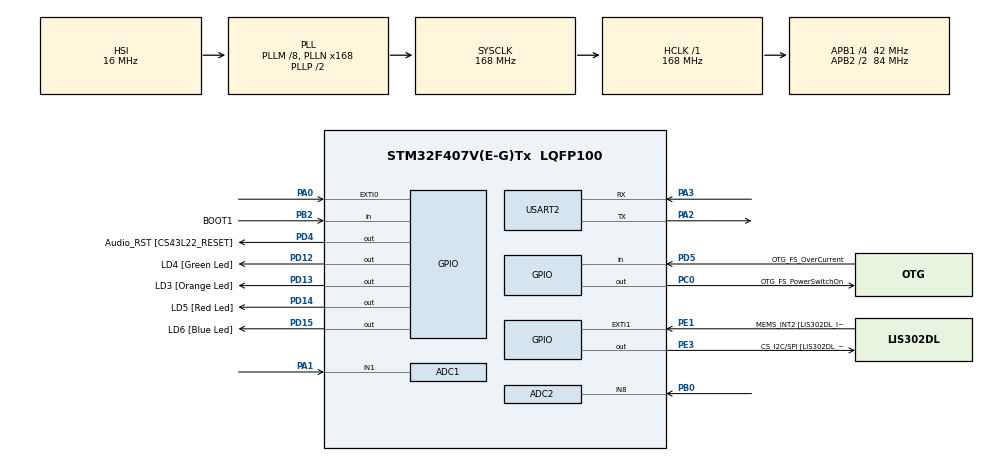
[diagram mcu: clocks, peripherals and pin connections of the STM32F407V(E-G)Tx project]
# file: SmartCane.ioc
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ADC1.Channel-4\#ChannelRegularConversion=ADC_CHANNEL_1
ADC1.ClockPrescaler=ADC_CLOCK_SYNC_PCLK_DIV4
ADC1.ContinuousConvMode=DISABLE
ADC1.DMAContinuousRequests=ENABLE
ADC1.DataAlign=ADC_DATAALIGN_RIGHT
ADC1.DiscontinuousConvMode=DISABLE
ADC1.EOCSelection=ADC_EOC_SINGLE_CONV
ADC1.EnableAnalogWatchDog=false
ADC1.ExternalTrigConv=ADC_EXTERNALTRIGCONV_T2_TRGO
ADC1.ExternalTrigConvEdge=ADC_EXTERNALTRIGCONVEDGE_RISING
ADC1.InjNumberOfConversion=0
ADC1.NbrOfConversion=1
ADC1.NbrOfConversionFlag=1
ADC1.Rank-4\#ChannelRegularConversion=1
ADC1.Resolution=ADC_RESOLUTION_12B
ADC1.SamplingTime-4\#ChannelRegularConversion=ADC_SAMPLETIME_3CYCLES
ADC1.ScanConvMode=DISABLE
ADC1.master=1
ADC2.Channel-18\#ChannelRegularConversion=ADC_CHANNEL_8
ADC2.ClockPrescaler=ADC_CLOCK_SYNC_PCLK_DIV4
ADC2.ContinuousConvMode=DISABLE
ADC2.DMAContinuousRequests=ENABLE
ADC2.DataAlign=ADC_DATAALIGN_RIGHT
ADC2.DiscontinuousConvMode=DISABLE
ADC2.EOCSelection=ADC_EOC_SINGLE_CONV
ADC2.EnableAnalogWatchDog=false
ADC2.ExternalTrigConv=ADC_EXTERNALTRIGCONV_T3_TRGO
ADC2.ExternalTrigConvEdge=ADC_EXTERNALTRIGCONVEDGE_RISING
ADC2.InjNumberOfConversion=0
ADC2.NbrOfConversion=1
ADC2.NbrOfConversionFlag=1
ADC2.Rank-18\#ChannelRegularConversion=1
ADC2.Resolution=ADC_RESOLUTION_12B
ADC2.SamplingTime-18\#ChannelRegularConversion=ADC_SAMPLETIME_3CYCLES
ADC2.ScanConvMode=DISABLE
Dma.ADC1.0.Direction=DMA_PERIPH_TO_MEMORY
Dma.ADC1.0.FIFOMode=DMA_FIFOMODE_ENABLE
Dma.ADC1.0.FIFOThreshold=DMA_FIFO_THRESHOLD_FULL
Dma.ADC1.0.Instance=DMA2_Stream0
Dma.ADC1.0.MemBurst=DMA_MBURST_SINGLE
Dma.ADC1.0.MemDataAlignment=DMA_MDATAALIGN_WORD
Dma.ADC1.0.MemInc=DMA_MINC_ENABLE
Dma.ADC1.0.Mode=DMA_CIRCULAR
Dma.ADC1.0.PeriphBurst=DMA_PBURST_SINGLE
Dma.ADC1.0.PeriphDataAlignment=DMA_PDATAALIGN_WORD
Dma.ADC1.0.PeriphInc=DMA_PINC_DISABLE
Dma.ADC1.0.Priority=DMA_PRIORITY_HIGH
Dma.ADC2.1.Direction=DMA_PERIPH_TO_MEMORY
Dma.ADC2.1.FIFOMode=DMA_FIFOMODE_ENABLE
Dma.ADC2.1.FIFOThreshold=DMA_FIFO_THRESHOLD_FULL
Dma.ADC2.1.Instance=DMA2_Stream2
Dma.ADC2.1.MemBurst=DMA_MBURST_SINGLE
Dma.ADC2.1.MemDataAlignment=DMA_MDATAALIGN_WORD
Dma.ADC2.1.MemInc=DMA_MINC_ENABLE
Dma.ADC2.1.Mode=DMA_CIRCULAR
Dma.ADC2.1.PeriphBurst=DMA_PBURST_SINGLE
Dma.ADC2.1.PeriphDataAlignment=DMA_PDATAALIGN_WORD
Dma.ADC2.1.PeriphInc=DMA_PINC_DISABLE
Dma.ADC2.1.Priority=DMA_PRIORITY_HIGH
Dma.Request0=ADC1
Dma.Request1=ADC2
Mcu.Family=STM32F4
Mcu.Name=STM32F407V(E-G)Tx
Mcu.Package=LQFP100
NVIC.DMA2_Stream0_IRQn=true\:0\:0\:false\:false\:true\:false
NVIC.DMA2_Stream2_IRQn=true\:0\:0\:false\:false\:true\:false
NVIC.EXTI0_IRQn=true\:0\:1\:false\:false\:true\:true
NVIC.PriorityGroup=NVIC_PRIORITYGROUP_0
NVIC.TIM8_BRK_TIM12_IRQn=true\:0\:0\:false\:false\:true\:true
NVIC.USART2_IRQn=true\:0\:0\:false\:false\:true\:true
PA0-WKUP.GPIO_ModeDefaultEXTI=GPIO_MODE_IT_FALLING
PA0-WKUP.GPIO_PuPd=GPIO_NOPULL
PA0-WKUP.Signal=GPXTI0
PA1.Signal=ADCx_IN1
PA10.GPIO_Label=OTG_FS_ID
PA10.GPIO_Mode=GPIO_MODE_AF_PP
PA10.GPIO_PuPd=GPIO_NOPULL
PA10.GPIO_Speed=GPIO_SPEED_FREQ_LOW
PA10.Signal=USB_OTG_FS_ID
PA11.GPIO_Label=OTG_FS_DM
PA11.GPIO_Mode=GPIO_MODE_AF_PP
PA11.GPIO_PuPd=GPIO_NOPULL
PA11.GPIO_Speed=GPIO_SPEED_FREQ_LOW
PA11.Signal=USB_OTG_FS_DM
PA12.GPIO_Label=OTG_FS_DP
PA12.GPIO_Mode=GPIO_MODE_AF_PP
PA12.GPIO_PuPd=GPIO_NOPULL
PA12.GPIO_Speed=GPIO_SPEED_FREQ_LOW
PA12.Signal=USB_OTG_FS_DP
PA13.GPIO_Label=SWDIO
PA13.Signal=SYS_JTMS-SWDIO
PA14.GPIO_Label=SWCLK
PA14.Signal=SYS_JTCK-SWCLK
PA2.Mode=Asynchronous
PA2.Signal=USART2_TX
PA3.Mode=Asynchronous
PA3.Signal=USART2_RX
PA4.GPIO_Label=I2S3_WS [CS43L22_LRCK]
PA4.GPIO_Mode=GPIO_MODE_AF_PP
PA4.GPIO_PuPd=GPIO_NOPULL
PA4.GPIO_Speed=GPIO_SPEED_FREQ_LOW
PA4.Signal=I2S3_WS
PA5.GPIO_Label=SPI1_SCK [LIS302DL_SCL/SPC]
PA5.GPIO_Mode=GPIO_MODE_AF_PP
PA5.GPIO_PuPd=GPIO_NOPULL
PA5.GPIO_Speed=GPIO_SPEED_FREQ_LOW
PA5.Signal=SPI1_SCK
PA6.GPIO_Label=SPI1_MISO [LIS302DL_SDO]
PA6.GPIO_Mode=GPIO_MODE_AF_PP
PA6.GPIO_PuPd=GPIO_NOPULL
PA6.GPIO_Speed=GPIO_SPEED_FREQ_LOW
PA6.Signal=SPI1_MISO
PA7.GPIO_Label=SPI1_MOSI [LIS302DL_SDA/SDI/SDO]
PA7.GPIO_Mode=GPIO_MODE_AF_PP
PA7.GPIO_PuPd=GPIO_NOPULL
PA7.GPIO_Speed=GPIO_SPEED_FREQ_LOW
PA7.Signal=SPI1_MOSI
PA9.GPIO_Label=VBUS_FS
PA9.GPIO_Mode=GPIO_MODE_INPUT
PA9.GPIO_PuPd=GPIO_NOPULL
PA9.Signal=USB_OTG_FS_VBUS
PB0.Signal=ADCx_IN8
PB10.GPIO_Label=CLK_IN [MP45DT02_CLK]
PB10.GPIO_Mode=GPIO_MODE_AF_PP
PB10.GPIO_PuPd=GPIO_NOPULL
PB10.GPIO_Speed=GPIO_SPEED_FREQ_LOW
PB10.Signal=I2S2_CK
PB2.GPIO_Label=BOOT1
PB2.GPIO_Mode=GPIO_MODE_INPUT
PB2.GPIO_PuPd=GPIO_NOPULL
PB2.Signal=GPIO_Input
PB3.GPIO_Label=SWO
PB3.Signal=SYS_JTDO-SWO
PB6.GPIO_Label=Audio_SCL [CS43L22_SCL]
PB6.GPIO_Mode=GPIO_MODE_AF_OD
PB6.GPIO_PuPd=GPIO_NOPULL
PB6.GPIO_Speed=GPIO_SPEED_FREQ_LOW
PB6.Signal=I2C1_SCL
PB9.GPIO_Label=Audio_SDA [CS43L22_SDA]
PB9.GPIO_Mode=GPIO_MODE_AF_OD
PB9.GPIO_PuPd=GPIO_NOPULL
PB9.GPIO_Speed=GPIO_SPEED_FREQ_LOW
PB9.Signal=I2C1_SDA
PC0.GPIO_Label=OTG_FS_PowerSwitchOn
PC0.GPIO_PuPd=GPIO_NOPULL
PC0.GPIO_Speed=GPIO_SPEED_FREQ_LOW
PC0.PinState=GPIO_PIN_SET
PC0.Signal=GPIO_Output
PC10.GPIO_Label=I2S3_SCK [CS43L22_SCLK]
PC10.GPIO_Mode=GPIO_MODE_AF_PP
PC10.GPIO_PuPd=GPIO_NOPULL
PC10.GPIO_Speed=GPIO_SPEED_FREQ_LOW
PC10.Signal=I2S3_CK
PC12.GPIO_Label=I2S3_SD [CS43L22_SDIN]
PC12.GPIO_Mode=GPIO_MODE_AF_PP
PC12.GPIO_PuPd=GPIO_NOPULL
PC12.GPIO_Speed=GPIO_SPEED_FREQ_LOW
PC12.Signal=I2S3_SD
PC14-OSC32_IN.GPIO_Label=PC14-OSC32_IN
PC14-OSC32_IN.Signal=RCC_OSC32_IN
PC15-OSC32_OUT.GPIO_Label=PC15-OSC32_OUT
PC15-OSC32_OUT.Signal=RCC_OSC32_OUT
PC3.GPIO_Label=PDM_OUT [MP45DT02_DOUT]
PC3.GPIO_Mode=GPIO_MODE_AF_PP
PC3.GPIO_PuPd=GPIO_NOPULL
PC3.GPIO_Speed=GPIO_SPEED_FREQ_LOW
PC3.Signal=I2S2_SD
PC7.GPIO_Label=I2S3_MCK [CS43L22_MCLK]
PC7.GPIO_Mode=GPIO_MODE_AF_PP
PC7.GPIO_PuPd=GPIO_NOPULL
PC7.GPIO_Speed=GPIO_SPEED_FREQ_LOW
PC7.Signal=I2S3_MCK
PD12.GPIO_Label=LD4 [Green Led]
PD12.GPIO_PuPd=GPIO_NOPULL
PD12.GPIO_Speed=GPIO_SPEED_FREQ_LOW
PD12.Signal=GPIO_Output
PD13.GPIO_Label=LD3 [Orange Led]
PD13.GPIO_PuPd=GPIO_NOPULL
PD13.GPIO_Speed=GPIO_SPEED_FREQ_LOW
PD13.Signal=GPIO_Output
PD14.GPIO_Label=LD5 [Red Led]
PD14.GPIO_PuPd=GPIO_NOPULL
PD14.GPIO_Speed=GPIO_SPEED_FREQ_LOW
PD14.Signal=GPIO_Output
PD15.GPIO_Label=LD6 [Blue Led]
PD15.GPIO_PuPd=GPIO_NOPULL
PD15.GPIO_Speed=GPIO_SPEED_FREQ_LOW
PD15.Signal=GPIO_Output
PD4.GPIO_Label=Audio_RST [CS43L22_RESET]
PD4.GPIO_PuPd=GPIO_NOPULL
PD4.GPIO_Speed=GPIO_SPEED_FREQ_LOW
PD4.Signal=GPIO_Output
PD5.GPIO_Label=OTG_FS_OverCurrent
PD5.GPIO_Mode=GPIO_MODE_INPUT
PD5.GPIO_PuPd=GPIO_NOPULL
PD5.Signal=GPIO_Input
PE1.GPIO_Label=MEMS_INT2 [LIS302DL_INT2]
PE1.GPIO_ModeDefaultEXTI=GPIO_MODE_EVT_RISING
PE1.GPIO_PuPd=GPIO_NOPULL
PE1.Signal=GPXTI1
PE3.GPIO_Label=CS_I2C/SPI [LIS302DL_CS_I2C/SPI]
PE3.GPIO_PuPd=GPIO_NOPULL
PE3.GPIO_Speed=GPIO_SPEED_FREQ_LOW
PE3.Signal=GPIO_Output
PH0-OSC_IN.GPIO_Label=PH0-OSC_IN
PH0-OSC_IN.Mode=HSE-External-Oscillator
PH0-OSC_IN.Signal=RCC_OSC_IN
PH1-OSC_OUT.GPIO_Label=PH1-OSC_OUT
PH1-OSC_OUT.Mode=HSE-External-Oscillator
PH1-OSC_OUT.Signal=RCC_OSC_OUT
ProjectManager.HeapSize=0x200
ProjectManager.StackSize=0x400
ProjectManager.TargetToolchain=MDK-ARM V5
RCC.48MHZClocksFreq_Value=48000000
RCC.AHBFreq_Value=168000000
RCC.APB1CLKDivider=RCC_HCLK_DIV4
RCC.APB1Freq_Value=42000000
RCC.APB1TimFreq_Value=84000000
RCC.APB2CLKDivider=RCC_HCLK_DIV2
RCC.APB2Freq_Value=84000000
RCC.APB2TimFreq_Value=168000000
RCC.CortexFreq_Value=168000000
RCC.HCLKFreq_Value=168000000
RCC.HSE_VALUE=8000000
RCC.HSI_VALUE=16000000
RCC.LSE_VALUE=32768
RCC.PLLM=8
RCC.PLLN=168
RCC.PLLQ=7
RCC.SYSCLKFreq_VALUE=168000000
RCC.SYSCLKSource=RCC_SYSCLKSOURCE_PLLCLK
RCC.VCOOutputFreq_Value=336000000
SH.ADCx_IN1.0=ADC1_IN1,IN1
SH.ADCx_IN8.0=ADC2_IN8,IN8
TIM12.Period=4200-1
TIM12.Prescaler=2000-1
TIM2.Period=2100 -1
TIM2.Prescaler=10-1
TIM2.TIM_MasterOutputTrigger=TIM_TRGO_UPDATE
TIM3.Period=2100 -1
TIM3.Prescaler=10-1
TIM3.TIM_MasterOutputTrigger=TIM_TRGO_UPDATE
TIM3.TIM_MasterSlaveMode=TIM_MASTERSLAVEMODE_DISABLE
USART2.VirtualMode=VM_ASYNC
VP_TIM12_VS_ClockSourceINT.Mode=Internal
VP_TIM2_VS_ClockSourceINT.Mode=Internal
VP_TIM3_VS_ClockSourceINT.Mode=Internal
board=STM32F4DISCOVERY

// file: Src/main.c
/**
  ******************************************************************************
  * File Name          : main.c
  * Description        : Main program body
  ******************************************************************************
  ** This notice applies to any and all portions of this file
  * that are not between comment pairs USER CODE BEGIN and
  * USER CODE END. Other portions of this file, whether
  * inserted by the user or by software development tools
  * are owned by their respective copyright owners.
  *
  * COPYRIGHT(c) 2017 STMicroelectronics
  *
  * Redistribution and use in source and binary forms, with or without modification,
  * are permitted provided that the following conditions are met:
  *   1. Redistributions of source code must retain the above copyright notice,
  *      this list of conditions and the following disclaimer.
  *   2. Redistributions in binary form must reproduce the above copyright notice,
  *      this list of conditions and the following disclaimer in the documentation
  *      and/or other materials provided with the distribution.
  *   3. Neither the name of STMicroelectronics nor the names of its contributors
  *      may be used to endorse or promote products derived from this software
  *      without specific prior written permission.
  *
  * THIS SOFTWARE IS PROVIDED BY THE COPYRIGHT HOLDERS AND CONTRIBUTORS "AS IS"
  * AND ANY EXPRESS OR IMPLIED WARRANTIES, INCLUDING, BUT NOT LIMITED TO, THE
  * IMPLIED WARRANTIES OF MERCHANTABILITY AND FITNESS FOR A PARTICULAR PURPOSE ARE
  * DISCLAIMED. IN NO EVENT SHALL THE COPYRIGHT HOLDER OR CONTRIBUTORS BE LIABLE
  * FOR ANY DIRECT, INDIRECT, INCIDENTAL, SPECIAL, EXEMPLARY, OR CONSEQUENTIAL
  * DAMAGES (INCLUDING, BUT NOT LIMITED TO, PROCUREMENT OF SUBSTITUTE GOODS OR
  * SERVICES; LOSS OF USE, DATA, OR PROFITS; OR BUSINESS INTERRUPTION) HOWEVER
  * CAUSED AND ON ANY THEORY OF LIABILITY, WHETHER IN CONTRACT, STRICT LIABILITY,
  * OR TORT (INCLUDING NEGLIGENCE OR OTHERWISE) ARISING IN ANY WAY OUT OF THE USE
  * OF THIS SOFTWARE, EVEN IF ADVISED OF THE POSSIBILITY OF SUCH DAMAGE.
  *
  ******************************************************************************
  */
#include "main.h"
#include "stm32f4xx_hal.h"

/* USER CODE BEGIN Includes */
#define ARM_MATH_CM4
#define NPT  1024
#define FFT_SIZE  NPT/2
#define FsTime 8000

#include "arm_math.h"
#include "arm_const_structs.h"

/* USER CODE END Includes */

ADC_HandleTypeDef hadc1;
ADC_HandleTypeDef hadc2;
DMA_HandleTypeDef hdma_adc1;
DMA_HandleTypeDef hdma_adc2;

TIM_HandleTypeDef htim2;
TIM_HandleTypeDef htim3;
TIM_HandleTypeDef htim12;

UART_HandleTypeDef huart2;

/* USER CODE BEGIN PV */
/* Private variables ---------------------------------------------------------*/
uint32_t  adcIn1[NPT] = {0,};
uint32_t  adcIn2[NPT] = {0,};

 float32_t Input1[NPT] = {0,};
 float32_t Input2[NPT] = {0,};

 float32_t Result_Output1[FFT_SIZE];
 float32_t Result_Output2[FFT_SIZE];

 float32_t Result_ANR[FFT_SIZE];

float32_t maxValue_1;				/* Max FFT value is stored here */
uint32_t maxIndex_1;				/* Index in Output array where max value is */

float32_t maxValue_2;				/* Max FFT value is stored here */
uint32_t maxIndex_2;				/* Index in Output array where max value is */

uint16_t i;

uint32_t Evaluation_Array[20] = {0,};

uint16_t count = 0;
uint32_t mode_Value = 0;

/* USER CODE END PV */

void SystemClock_Config(void);
static void MX_GPIO_Init(void);
static void MX_DMA_Init(void);
static void MX_USART2_UART_Init(void);
static void MX_TIM3_Init(void);
static void MX_TIM2_Init(void);
static void MX_ADC1_Init(void);
static void MX_ADC2_Init(void);
static void MX_TIM12_Init(void);

/* USER CODE BEGIN PFP */
/* Private function prototypes -----------------------------------------------*/

void HAL_TIM_PeriodElapsedCallback(TIM_HandleTypeDef *htim)  //FFT 자리// 타이머 카운트 주기가 경과되면 호출되는 함수
{
	//FFT 담당 -> 8000hz ->TIM3 / TIM8

	if(htim -> Instance == TIM12)
	{

		 for(i = 0; i <NPT; i++) //배열타입 정렬
		 {
				 Input1[(uint16_t)i] = (float32_t)(adcIn1[i]);
			   Input2[(uint16_t)i] = (float32_t)(adcIn2[i]);
		 }

		arm_cfft_f32(&arm_cfft_sR_f32_len512, Input1, 0, 1);
		arm_cmplx_mag_f32(Input1, Result_Output1, FFT_SIZE);
		Result_Output1[0] = 0;//참고문헌 필요 -> zero padding

		arm_cfft_f32(&arm_cfft_sR_f32_len512, Input2, 0, 1);
		arm_cmplx_mag_f32(Input2, Result_Output2, FFT_SIZE);
		Result_Output2[0] = 0;//참고문헌 필요 -> zero padding

		 //
 //   printf("ANR FFT\r\n");
		 for(i = 0; i <FFT_SIZE/2; i++)
		 {
			  Result_ANR[i]=  fabs(Result_Output1[i]-Result_Output2[i]);
		//		printf("%.1f,",Result_ANR[i]);
		 }
 //   printf("\r\n");

		 arm_max_f32(Result_ANR, FFT_SIZE/2, &maxValue_1, &maxIndex_1);
		 Result_ANR[maxIndex_1] = 0.0;
		 arm_max_f32(Result_ANR, FFT_SIZE/2, &maxValue_2, &maxIndex_2);

//    printf("Info.\r\n");

		if(maxValue_1 <2000)
	 {
			  maxValue_1 =0;
		    Result_ANR[maxIndex_1] =0;
		    printf("%d,%.1f, %d,%.1f  \r\n", 0,0.0, 0,0.0);

	 }
	 else
	{
		  printf("%d,%.1f, /// ,%d,%.1f  \r\n", maxIndex_1*FsTime/2/(NPT/2)/2, maxValue_1, maxIndex_2*FsTime/2/(NPT/2)/2, maxValue_2);
			Evaluation_Array[count] =maxIndex_1*FsTime/2/(NPT/2)/2;

		  if(count > 20)
			{
				count =0;
			}
			count++;

	}

   /*
		 for(i = 0; i <FFT_SIZE/2; i++)
		 {
			 if(Result_Output1[i]-Result_Output2[i] <= 0)
			  {
				 	 Result_ANR[i] =0;
			  }
			  else
			  {
		 			 Result_ANR[i]=  Result_Output1[i]-Result_Output2[i];
	 		  }
				printf("%.1f,", Result_ANR[i]);
  		}

				 arm_max_f32(Result_ANR, FFT_SIZE/2, &maxValue_1, &maxIndex_1);
			   Result_ANR[maxIndex_1] = 0.0;
		     arm_max_f32(Result_ANR, FFT_SIZE/2, &maxValue_2, &maxIndex_2);

				 if(maxValue_1 <1000)
				 {
					  printf("%d,%.1f, %d,%.1f  \r\n", 0,0.0, 0,0.0);
				 }
				 else
				 {
					  printf("%d,%.1f, %d,%.1f  \r\n", maxIndex_1*FsTime/2/(NPT/2), maxValue_1, maxIndex_2*maxIndex_1*FsTime/2/(NPT/2),maxValue_2);
				 }
	 */
		 }
}

/* USER CODE END PFP */

/* USER CODE BEGIN 0 */

int fputc(int ch, FILE *f)
{
    uint8_t temp[1]={ch};
    HAL_UART_Transmit(&huart2, temp, 1, 2);
  return(ch);
}

/* USER CODE END 0 */

int main(void)
{

  /* MCU Configuration----------------------------------------------------------*/

  /* Reset of all peripherals, Initializes the Flash interface and the Systick. */
  HAL_Init();

  /* Configure the system clock */
  SystemClock_Config();

  /* Initialize all configured peripherals */
  MX_GPIO_Init();
  MX_DMA_Init();
  MX_USART2_UART_Init();
  MX_TIM3_Init();
  MX_TIM2_Init();
  MX_ADC1_Init();
  MX_ADC2_Init();
  MX_TIM12_Init();

  /* USER CODE BEGIN 2 */

  HAL_ADC_Start_DMA(&hadc1, adcIn1 ,NPT);
  HAL_ADC_Start_DMA(&hadc2, adcIn2 ,NPT);		//<-NOISE REDUCTION

	HAL_TIM_Base_Start_IT(&htim2);   //<-SOUND 알아서 녹음
  HAL_TIM_Base_Start_IT(&htim3);   //<-NOISE REDUCTION

	HAL_TIM_Base_Start_IT(&htim12);   //<- time base의 타이머 인터럽트를 시작

  /* USER CODE END 2 */

  /* Infinite loop */
  while (1)
  {

  }

}

/** System Clock Configuration
*/
void SystemClock_Config(void)
{

  RCC_OscInitTypeDef RCC_OscInitStruct;
  RCC_ClkInitTypeDef RCC_ClkInitStruct;

    /**Configure the main internal regulator output voltage
    */
  __HAL_RCC_PWR_CLK_ENABLE();

  __HAL_PWR_VOLTAGESCALING_CONFIG(PWR_REGULATOR_VOLTAGE_SCALE1);

    /**Initializes the CPU, AHB and APB busses clocks
    */
  RCC_OscInitStruct.OscillatorType = RCC_OSCILLATORTYPE_HSI;
  RCC_OscInitStruct.HSIState = RCC_HSI_ON;
  RCC_OscInitStruct.HSICalibrationValue = 16;
  RCC_OscInitStruct.PLL.PLLState = RCC_PLL_ON;
  RCC_OscInitStruct.PLL.PLLSource = RCC_PLLSOURCE_HSI;
  RCC_OscInitStruct.PLL.PLLM = 8;
  RCC_OscInitStruct.PLL.PLLN = 168;
  RCC_OscInitStruct.PLL.PLLP = RCC_PLLP_DIV2;
  RCC_OscInitStruct.PLL.PLLQ = 7;
  if (HAL_RCC_OscConfig(&RCC_OscInitStruct) != HAL_OK)
  {
    _Error_Handler(__FILE__, __LINE__);
  }

    /**Initializes the CPU, AHB and APB busses clocks
    */
  RCC_ClkInitStruct.ClockType = RCC_CLOCKTYPE_HCLK|RCC_CLOCKTYPE_SYSCLK
                              |RCC_CLOCKTYPE_PCLK1|RCC_CLOCKTYPE_PCLK2;
  RCC_ClkInitStruct.SYSCLKSource = RCC_SYSCLKSOURCE_PLLCLK;
  RCC_ClkInitStruct.AHBCLKDivider = RCC_SYSCLK_DIV1;
  RCC_ClkInitStruct.APB1CLKDivider = RCC_HCLK_DIV4;
  RCC_ClkInitStruct.APB2CLKDivider = RCC_HCLK_DIV2;

  if (HAL_RCC_ClockConfig(&RCC_ClkInitStruct, FLASH_LATENCY_5) != HAL_OK)
  {
    _Error_Handler(__FILE__, __LINE__);
  }

    /**Configure the Systick interrupt time
    */
  HAL_SYSTICK_Config(HAL_RCC_GetHCLKFreq()/1000);

    /**Configure the Systick
    */
  HAL_SYSTICK_CLKSourceConfig(SYSTICK_CLKSOURCE_HCLK);

  /* SysTick_IRQn interrupt configuration */
  HAL_NVIC_SetPriority(SysTick_IRQn, 0, 0);
}

/* ADC1 init function */
static void MX_ADC1_Init(void)
{

  ADC_ChannelConfTypeDef sConfig;

    /**Configure the global features of the ADC (Clock, Resolution, Data Alignment and number of conversion)
    */
  hadc1.Instance = ADC1;
  hadc1.Init.ClockPrescaler = ADC_CLOCK_SYNC_PCLK_DIV4;
  hadc1.Init.Resolution = ADC_RESOLUTION_12B;
  hadc1.Init.ScanConvMode = DISABLE;
  hadc1.Init.ContinuousConvMode = DISABLE;
  hadc1.Init.DiscontinuousConvMode = DISABLE;
  hadc1.Init.ExternalTrigConvEdge = ADC_EXTERNALTRIGCONVEDGE_RISING;
  hadc1.Init.ExternalTrigConv = ADC_EXTERNALTRIGCONV_T2_TRGO;
  hadc1.Init.DataAlign = ADC_DATAALIGN_RIGHT;
  hadc1.Init.NbrOfConversion = 1;
  hadc1.Init.DMAContinuousRequests = ENABLE;
  hadc1.Init.EOCSelection = ADC_EOC_SINGLE_CONV;
  if (HAL_ADC_Init(&hadc1) != HAL_OK)
  {
    _Error_Handler(__FILE__, __LINE__);
  }

    /**Configure for the selected ADC regular channel its corresponding rank in the sequencer and its sample time.
    */
  sConfig.Channel = ADC_CHANNEL_1;
  sConfig.Rank = 1;
  sConfig.SamplingTime = ADC_SAMPLETIME_3CYCLES;
  if (HAL_ADC_ConfigChannel(&hadc1, &sConfig) != HAL_OK)
  {
    _Error_Handler(__FILE__, __LINE__);
  }

}

/* ADC2 init function */
static void MX_ADC2_Init(void)
{

  ADC_ChannelConfTypeDef sConfig;

    /**Configure the global features of the ADC (Clock, Resolution, Data Alignment and number of conversion)
    */
  hadc2.Instance = ADC2;
  hadc2.Init.ClockPrescaler = ADC_CLOCK_SYNC_PCLK_DIV4;
  hadc2.Init.Resolution = ADC_RESOLUTION_12B;
  hadc2.Init.ScanConvMode = DISABLE;
  hadc2.Init.ContinuousConvMode = DISABLE;
  hadc2.Init.DiscontinuousConvMode = DISABLE;
  hadc2.Init.ExternalTrigConvEdge = ADC_EXTERNALTRIGCONVEDGE_RISING;
  hadc2.Init.ExternalTrigConv = ADC_EXTERNALTRIGCONV_T3_TRGO;
  hadc2.Init.DataAlign = ADC_DATAALIGN_RIGHT;
  hadc2.Init.NbrOfConversion = 1;
  hadc2.Init.DMAContinuousRequests = ENABLE;
  hadc2.Init.EOCSelection = ADC_EOC_SINGLE_CONV;
  if (HAL_ADC_Init(&hadc2) != HAL_OK)
  {
    _Error_Handler(__FILE__, __LINE__);
  }

    /**Configure for the selected ADC regular channel its corresponding rank in the sequencer and its sample time.
    */
  sConfig.Channel = ADC_CHANNEL_8;
  sConfig.Rank = 1;
  sConfig.SamplingTime = ADC_SAMPLETIME_3CYCLES;
  if (HAL_ADC_ConfigChannel(&hadc2, &sConfig) != HAL_OK)
  {
    _Error_Handler(__FILE__, __LINE__);
  }

}

/* TIM2 init function */
static void MX_TIM2_Init(void)
{

  TIM_ClockConfigTypeDef sClockSourceConfig;
  TIM_MasterConfigTypeDef sMasterConfig;

  htim2.Instance = TIM2;
  htim2.Init.Prescaler = 10-1;
  htim2.Init.CounterMode = TIM_COUNTERMODE_UP;
  htim2.Init.Period = 2100 -1;
  htim2.Init.ClockDivision = TIM_CLOCKDIVISION_DIV1;
  if (HAL_TIM_Base_Init(&htim2) != HAL_OK)
  {
    _Error_Handler(__FILE__, __LINE__);
  }

  sClockSourceConfig.ClockSource = TIM_CLOCKSOURCE_INTERNAL;
  if (HAL_TIM_ConfigClockSource(&htim2, &sClockSourceConfig) != HAL_OK)
  {
    _Error_Handler(__FILE__, __LINE__);
  }

  sMasterConfig.MasterOutputTrigger = TIM_TRGO_UPDATE;
  sMasterConfig.MasterSlaveMode = TIM_MASTERSLAVEMODE_DISABLE;
  if (HAL_TIMEx_MasterConfigSynchronization(&htim2, &sMasterConfig) != HAL_OK)
  {
    _Error_Handler(__FILE__, __LINE__);
  }

}

/* TIM3 init function */
static void MX_TIM3_Init(void)
{

  TIM_ClockConfigTypeDef sClockSourceConfig;
  TIM_MasterConfigTypeDef sMasterConfig;

  htim3.Instance = TIM3;
  htim3.Init.Prescaler = 10-1;
  htim3.Init.CounterMode = TIM_COUNTERMODE_UP;
  htim3.Init.Period = 2100 -1;
  htim3.Init.ClockDivision = TIM_CLOCKDIVISION_DIV1;
  if (HAL_TIM_Base_Init(&htim3) != HAL_OK)
  {
    _Error_Handler(__FILE__, __LINE__);
  }

  sClockSourceConfig.ClockSource = TIM_CLOCKSOURCE_INTERNAL;
  if (HAL_TIM_ConfigClockSource(&htim3, &sClockSourceConfig) != HAL_OK)
  {
    _Error_Handler(__FILE__, __LINE__);
  }

  sMasterConfig.MasterOutputTrigger = TIM_TRGO_UPDATE;
  sMasterConfig.MasterSlaveMode = TIM_MASTERSLAVEMODE_DISABLE;
  if (HAL_TIMEx_MasterConfigSynchronization(&htim3, &sMasterConfig) != HAL_OK)
  {
    _Error_Handler(__FILE__, __LINE__);
  }

}

/* TIM12 init function */
static void MX_TIM12_Init(void)
{

  TIM_ClockConfigTypeDef sClockSourceConfig;

  htim12.Instance = TIM12;
  htim12.Init.Prescaler = 2000-1;
  htim12.Init.CounterMode = TIM_COUNTERMODE_UP;
  htim12.Init.Period = 4200-1;
  htim12.Init.ClockDivision = TIM_CLOCKDIVISION_DIV1;
  if (HAL_TIM_Base_Init(&htim12) != HAL_OK)
  {
    _Error_Handler(__FILE__, __LINE__);
  }

  sClockSourceConfig.ClockSource = TIM_CLOCKSOURCE_INTERNAL;
  if (HAL_TIM_ConfigClockSource(&htim12, &sClockSourceConfig) != HAL_OK)
  {
    _Error_Handler(__FILE__, __LINE__);
  }

}

/* USART2 init function */
static void MX_USART2_UART_Init(void)
{

  huart2.Instance = USART2;
  huart2.Init.BaudRate = 115200;
  huart2.Init.WordLength = UART_WORDLENGTH_8B;
  huart2.Init.StopBits = UART_STOPBITS_1;
  huart2.Init.Parity = UART_PARITY_NONE;
  huart2.Init.Mode = UART_MODE_TX_RX;
  huart2.Init.HwFlowCtl = UART_HWCONTROL_NONE;
  huart2.Init.OverSampling = UART_OVERSAMPLING_16;
  if (HAL_UART_Init(&huart2) != HAL_OK)
  {
    _Error_Handler(__FILE__, __LINE__);
  }

}

static void MX_DMA_Init(void)
{
  /* DMA controller clock enable */
  __HAL_RCC_DMA2_CLK_ENABLE();

  /* DMA interrupt init */
  /* DMA2_Stream0_IRQn interrupt configuration */
  HAL_NVIC_SetPriority(DMA2_Stream0_IRQn, 0, 0);
  HAL_NVIC_EnableIRQ(DMA2_Stream0_IRQn);
  /* DMA2_Stream2_IRQn interrupt configuration */
  HAL_NVIC_SetPriority(DMA2_Stream2_IRQn, 0, 0);
  HAL_NVIC_EnableIRQ(DMA2_Stream2_IRQn);

}

/** Configure pins as
        * Analog
        * Input
        * Output
        * EVENT_OUT
        * EXTI
     PC3   ------> I2S2_SD
     PA4   ------> I2S3_WS
     PA5   ------> SPI1_SCK
     PA6   ------> SPI1_MISO
     PA7   ------> SPI1_MOSI
     PB10   ------> I2S2_CK
     PC7   ------> I2S3_MCK
     PA9   ------> USB_OTG_FS_VBUS
     PA10   ------> USB_OTG_FS_ID
     PA11   ------> USB_OTG_FS_DM
     PA12   ------> USB_OTG_FS_DP
     PC10   ------> I2S3_CK
     PC12   ------> I2S3_SD
     PB6   ------> I2C1_SCL
     PB9   ------> I2C1_SDA
*/
static void MX_GPIO_Init(void)
{

  GPIO_InitTypeDef GPIO_InitStruct;

  /* GPIO Ports Clock Enable */
  __HAL_RCC_GPIOE_CLK_ENABLE();
  __HAL_RCC_GPIOC_CLK_ENABLE();
  __HAL_RCC_GPIOH_CLK_ENABLE();
  __HAL_RCC_GPIOA_CLK_ENABLE();
  __HAL_RCC_GPIOB_CLK_ENABLE();
  __HAL_RCC_GPIOD_CLK_ENABLE();

  /*Configure GPIO pin Output Level */
  HAL_GPIO_WritePin(CS_I2C_SPI_GPIO_Port, CS_I2C_SPI_Pin, GPIO_PIN_RESET);

  /*Configure GPIO pin Output Level */
  HAL_GPIO_WritePin(OTG_FS_PowerSwitchOn_GPIO_Port, OTG_FS_PowerSwitchOn_Pin, GPIO_PIN_SET);

  /*Configure GPIO pin Output Level */
  HAL_GPIO_WritePin(GPIOD, LD4_Pin|LD3_Pin|LD5_Pin|LD6_Pin
                          |Audio_RST_Pin, GPIO_PIN_RESET);

  /*Configure GPIO pin : CS_I2C_SPI_Pin */
  GPIO_InitStruct.Pin = CS_I2C_SPI_Pin;
  GPIO_InitStruct.Mode = GPIO_MODE_OUTPUT_PP;
  GPIO_InitStruct.Pull = GPIO_NOPULL;
  GPIO_InitStruct.Speed = GPIO_SPEED_FREQ_LOW;
  HAL_GPIO_Init(CS_I2C_SPI_GPIO_Port, &GPIO_InitStruct);

  /*Configure GPIO pin : OTG_FS_PowerSwitchOn_Pin */
  GPIO_InitStruct.Pin = OTG_FS_PowerSwitchOn_Pin;
  GPIO_InitStruct.Mode = GPIO_MODE_OUTPUT_PP;
  GPIO_InitStruct.Pull = GPIO_NOPULL;
  GPIO_InitStruct.Speed = GPIO_SPEED_FREQ_LOW;
  HAL_GPIO_Init(OTG_FS_PowerSwitchOn_GPIO_Port, &GPIO_InitStruct);

  /*Configure GPIO pin : PDM_OUT_Pin */
  GPIO_InitStruct.Pin = PDM_OUT_Pin;
  GPIO_InitStruct.Mode = GPIO_MODE_AF_PP;
  GPIO_InitStruct.Pull = GPIO_NOPULL;
  GPIO_InitStruct.Speed = GPIO_SPEED_FREQ_LOW;
  GPIO_InitStruct.Alternate = GPIO_AF5_SPI2;
  HAL_GPIO_Init(PDM_OUT_GPIO_Port, &GPIO_InitStruct);

  /*Configure GPIO pin : PA0 */
  GPIO_InitStruct.Pin = GPIO_PIN_0;
  GPIO_InitStruct.Mode = GPIO_MODE_IT_FALLING;
  GPIO_InitStruct.Pull = GPIO_NOPULL;
  HAL_GPIO_Init(GPIOA, &GPIO_InitStruct);

  /*Configure GPIO pin : I2S3_WS_Pin */
  GPIO_InitStruct.Pin = I2S3_WS_Pin;
  GPIO_InitStruct.Mode = GPIO_MODE_AF_PP;
  GPIO_InitStruct.Pull = GPIO_NOPULL;
  GPIO_InitStruct.Speed = GPIO_SPEED_FREQ_LOW;
  GPIO_InitStruct.Alternate = GPIO_AF6_SPI3;
  HAL_GPIO_Init(I2S3_WS_GPIO_Port, &GPIO_InitStruct);

  /*Configure GPIO pins : SPI1_SCK_Pin SPI1_MISO_Pin SPI1_MOSI_Pin */
  GPIO_InitStruct.Pin = SPI1_SCK_Pin|SPI1_MISO_Pin|SPI1_MOSI_Pin;
  GPIO_InitStruct.Mode = GPIO_MODE_AF_PP;
  GPIO_InitStruct.Pull = GPIO_NOPULL;
  GPIO_InitStruct.Speed = GPIO_SPEED_FREQ_LOW;
  GPIO_InitStruct.Alternate = GPIO_AF5_SPI1;
  HAL_GPIO_Init(GPIOA, &GPIO_InitStruct);

  /*Configure GPIO pin : BOOT1_Pin */
  GPIO_InitStruct.Pin = BOOT1_Pin;
  GPIO_InitStruct.Mode = GPIO_MODE_INPUT;
  GPIO_InitStruct.Pull = GPIO_NOPULL;
  HAL_GPIO_Init(BOOT1_GPIO_Port, &GPIO_InitStruct);

  /*Configure GPIO pin : CLK_IN_Pin */
  GPIO_InitStruct.Pin = CLK_IN_Pin;
  GPIO_InitStruct.Mode = GPIO_MODE_AF_PP;
  GPIO_InitStruct.Pull = GPIO_NOPULL;
  GPIO_InitStruct.Speed = GPIO_SPEED_FREQ_LOW;
  GPIO_InitStruct.Alternate = GPIO_AF5_SPI2;
  HAL_GPIO_Init(CLK_IN_GPIO_Port, &GPIO_InitStruct);

  /*Configure GPIO pins : LD4_Pin LD3_Pin LD5_Pin LD6_Pin
                           Audio_RST_Pin */
  GPIO_InitStruct.Pin = LD4_Pin|LD3_Pin|LD5_Pin|LD6_Pin
                          |Audio_RST_Pin;
  GPIO_InitStruct.Mode = GPIO_MODE_OUTPUT_PP;
  GPIO_InitStruct.Pull = GPIO_NOPULL;
  GPIO_InitStruct.Speed = GPIO_SPEED_FREQ_LOW;
  HAL_GPIO_Init(GPIOD, &GPIO_InitStruct);

  /*Configure GPIO pins : I2S3_MCK_Pin I2S3_SCK_Pin I2S3_SD_Pin */
  GPIO_InitStruct.Pin = I2S3_MCK_Pin|I2S3_SCK_Pin|I2S3_SD_Pin;
  GPIO_InitStruct.Mode = GPIO_MODE_AF_PP;
  GPIO_InitStruct.Pull = GPIO_NOPULL;
  GPIO_InitStruct.Speed = GPIO_SPEED_FREQ_LOW;
  GPIO_InitStruct.Alternate = GPIO_AF6_SPI3;
  HAL_GPIO_Init(GPIOC, &GPIO_InitStruct);

  /*Configure GPIO pin : VBUS_FS_Pin */
  GPIO_InitStruct.Pin = VBUS_FS_Pin;
  GPIO_InitStruct.Mode = GPIO_MODE_INPUT;
  GPIO_InitStruct.Pull = GPIO_NOPULL;
  HAL_GPIO_Init(VBUS_FS_GPIO_Port, &GPIO_InitStruct);

  /*Configure GPIO pins : OTG_FS_ID_Pin OTG_FS_DM_Pin OTG_FS_DP_Pin */
  GPIO_InitStruct.Pin = OTG_FS_ID_Pin|OTG_FS_DM_Pin|OTG_FS_DP_Pin;
  GPIO_InitStruct.Mode = GPIO_MODE_AF_PP;
  GPIO_InitStruct.Pull = GPIO_NOPULL;
  GPIO_InitStruct.Speed = GPIO_SPEED_FREQ_LOW;
  GPIO_InitStruct.Alternate = GPIO_AF10_OTG_FS;
  HAL_GPIO_Init(GPIOA, &GPIO_InitStruct);

  /*Configure GPIO pin : OTG_FS_OverCurrent_Pin */
  GPIO_InitStruct.Pin = OTG_FS_OverCurrent_Pin;
  GPIO_InitStruct.Mode = GPIO_MODE_INPUT;
  GPIO_InitStruct.Pull = GPIO_NOPULL;
  HAL_GPIO_Init(OTG_FS_OverCurrent_GPIO_Port, &GPIO_InitStruct);

  /*Configure GPIO pins : Audio_SCL_Pin Audio_SDA_Pin */
  GPIO_InitStruct.Pin = Audio_SCL_Pin|Audio_SDA_Pin;
  GPIO_InitStruct.Mode = GPIO_MODE_AF_OD;
  GPIO_InitStruct.Pull = GPIO_PULLUP;
  GPIO_InitStruct.Speed = GPIO_SPEED_FREQ_LOW;
  GPIO_InitStruct.Alternate = GPIO_AF4_I2C1;
  HAL_GPIO_Init(GPIOB, &GPIO_InitStruct);

  /*Configure GPIO pin : MEMS_INT2_Pin */
  GPIO_InitStruct.Pin = MEMS_INT2_Pin;
  GPIO_InitStruct.Mode = GPIO_MODE_EVT_RISING;
  GPIO_InitStruct.Pull = GPIO_NOPULL;
  HAL_GPIO_Init(MEMS_INT2_GPIO_Port, &GPIO_InitStruct);

  /* EXTI interrupt init*/
  HAL_NVIC_SetPriority(EXTI0_IRQn, 0, 1);
  HAL_NVIC_EnableIRQ(EXTI0_IRQn);

}

void _Error_Handler(char * file, int line)
{
  while(1)
  {
  }
}

/************************ (C) COPYRIGHT STMicroelectronics *****END OF FILE****/
